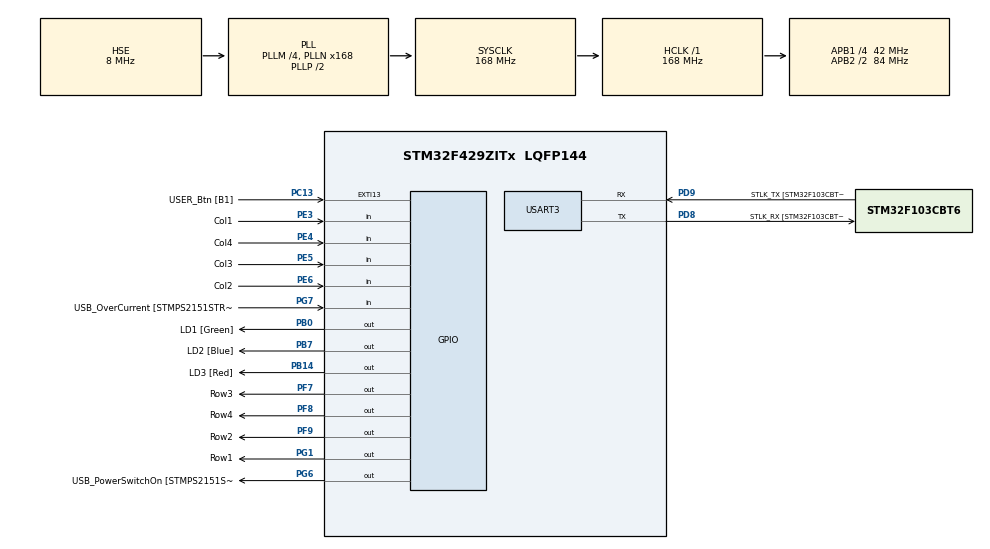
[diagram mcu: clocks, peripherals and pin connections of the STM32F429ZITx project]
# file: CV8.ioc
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Mcu.Family=STM32F4
Mcu.Name=STM32F429ZITx
Mcu.Package=LQFP144
NVIC.PriorityGroup=NVIC_PRIORITYGROUP_4
NVIC.TIM2_IRQn=true\:0\:0\:false\:false\:true\:true\:true
PA1.GPIO_Label=RMII_REF_CLK [LAN8742A-CZ-TR_REFCLK0]
PA1.Signal=ETH_REF_CLK
PA10.GPIO_Label=USB_ID
PA10.Signal=USB_OTG_FS_ID
PA11.GPIO_Label=USB_DM
PA11.Signal=USB_OTG_FS_DM
PA12.GPIO_Label=USB_DP
PA12.Signal=USB_OTG_FS_DP
PA13.GPIO_Label=TMS
PA13.Mode=Serial_Wire
PA13.Signal=SYS_JTMS-SWDIO
PA14.GPIO_Label=TCK
PA14.Mode=Serial_Wire
PA14.Signal=SYS_JTCK-SWCLK
PA2.GPIO_Label=RMII_MDIO [LAN8742A-CZ-TR_MDIO]
PA2.Signal=ETH_MDIO
PA7.GPIO_Label=RMII_CRS_DV [LAN8742A-CZ-TR_CRS_DV]
PA7.Signal=ETH_CRS_DV
PA8.GPIO_Label=USB_SOF [TP1]
PA8.Signal=USB_OTG_FS_SOF
PA9.GPIO_Label=USB_VBUS
PA9.Signal=USB_OTG_FS_VBUS
PB0.GPIO_Label=LD1 [Green]
PB0.Signal=GPIO_Output
PB13.GPIO_Label=RMII_TXD1 [LAN8742A-CZ-TR_TXD1]
PB13.Signal=ETH_TXD1
PB14.GPIO_Label=LD3 [Red]
PB14.Signal=GPIO_Output
PB7.GPIO_Label=LD2 [Blue]
PB7.Signal=GPIO_Output
PC1.GPIO_Label=RMII_MDC [LAN8742A-CZ-TR_MDC]
PC1.Signal=ETH_MDC
PC13.GPIO_Label=USER_Btn [B1]
PC13.Signal=GPXTI13
PC14/OSC32_IN.Mode=LSE-External-Oscillator
PC14/OSC32_IN.Signal=RCC_OSC32_IN
PC15/OSC32_OUT.Mode=LSE-External-Oscillator
PC15/OSC32_OUT.Signal=RCC_OSC32_OUT
PC4.GPIO_Label=RMII_RXD0 [LAN8742A-CZ-TR_RXD0]
PC4.Signal=ETH_RXD0
PC5.GPIO_Label=RMII_RXD1 [LAN8742A-CZ-TR_RXD1]
PC5.Signal=ETH_RXD1
PD8.GPIO_Label=STLK_RX [STM32F103CBT6_PA3]
PD8.Mode=Asynchronous
PD8.Signal=USART3_TX
PD9.GPIO_Label=STLK_TX [STM32F103CBT6_PA2]
PD9.Mode=Asynchronous
PD9.Signal=USART3_RX
PE3.GPIO_Label=Col1
PE3.GPIO_PuPd=GPIO_PULLUP
PE3.Signal=GPIO_Input
PE4.GPIO_Label=Col4
PE4.GPIO_PuPd=GPIO_PULLUP
PE4.Signal=GPIO_Input
PE5.GPIO_Label=Col3
PE5.GPIO_PuPd=GPIO_PULLUP
PE5.Signal=GPIO_Input
PE6.GPIO_Label=Col2
PE6.GPIO_PuPd=GPIO_PULLUP
PE6.Signal=GPIO_Input
PF7.GPIO_Label=Row3
PF7.GPIO_ModeDefaultOutputPP=GPIO_MODE_OUTPUT_OD
PF7.Signal=GPIO_Output
PF8.GPIO_Label=Row4
PF8.GPIO_ModeDefaultOutputPP=GPIO_MODE_OUTPUT_OD
PF8.Signal=GPIO_Output
PF9.GPIO_Label=Row2
PF9.GPIO_ModeDefaultOutputPP=GPIO_MODE_OUTPUT_OD
PF9.Signal=GPIO_Output
PG1.GPIO_Label=Row1
PG1.GPIO_ModeDefaultOutputPP=GPIO_MODE_OUTPUT_OD
PG1.Signal=GPIO_Output
PG11.GPIO_Label=RMII_TX_EN [LAN8742A-CZ-TR_TXEN]
PG11.Signal=ETH_TX_EN
PG13.GPIO_Label=RMII_TXD0 [LAN8742A-CZ-TR_TXD0]
PG13.Signal=ETH_TXD0
PG6.GPIO_Label=USB_PowerSwitchOn [STMPS2151STR_EN]
PG6.Signal=GPIO_Output
PG7.GPIO_Label=USB_OverCurrent [STMPS2151STR_FAULT]
PG7.Signal=GPIO_Input
PH0/OSC_IN.GPIO_Label=MCO [STM32F103CBT6_PA8]
PH0/OSC_IN.Mode=HSE-External-Clock-Source
PH0/OSC_IN.Signal=RCC_OSC_IN
PH1/OSC_OUT.Mode=HSE-External-Clock-Source
PH1/OSC_OUT.Signal=RCC_OSC_OUT
ProjectManager.HeapSize=0x200
ProjectManager.StackSize=0x400
ProjectManager.TargetToolchain=STM32CubeIDE
RCC.48MHZClocksFreq_Value=48000000
RCC.AHBFreq_Value=168000000
RCC.APB1CLKDivider=RCC_HCLK_DIV4
RCC.APB1Freq_Value=42000000
RCC.APB1TimFreq_Value=84000000
RCC.APB2CLKDivider=RCC_HCLK_DIV2
RCC.APB2Freq_Value=84000000
RCC.APB2TimCLKDivider=2
RCC.APB2TimFreq_Value=168000000
RCC.CortexFreq_Value=168000000
RCC.HCLKFreq_Value=168000000
RCC.HSE_VALUE=8000000
RCC.HSI_VALUE=16000000
RCC.PLLM=4
RCC.PLLMUL=RCC_PLL_MUL9
RCC.PLLN=168
RCC.PLLQ=7
RCC.PLLSourceVirtual=RCC_PLLSOURCE_HSE
RCC.PRESCALERUSB=RCC_USBCLKSOURCE_PLL_DIV1_5
RCC.SYSCLKFreq_VALUE=168000000
RCC.SYSCLKSource=RCC_SYSCLKSOURCE_PLLCLK
RCC.SYSCLKSourceVirtual=RCC_SYSCLKSOURCE_PLLCLK
RCC.USBFreq_Value=48000000
RCC.VCOOutputFreq_Value=336000000
TIM2.AutoReloadPreload=TIM_AUTORELOAD_PRELOAD_ENABLE
TIM2.Period=99
TIM2.Prescaler=8399
USART3.VirtualMode=VM_ASYNC
VP_TIM2_VS_ClockSourceINT.Mode=Internal
board=NUCLEO-F429ZI

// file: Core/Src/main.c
/* USER CODE BEGIN Header */
/**
 ******************************************************************************
 * @file           : main.c
 * @brief          : Main program body
 ******************************************************************************
 * @attention
 *
 * <h2><center>&copy; Copyright (c) 2020 STMicroelectronics.
 * All rights reserved.</center></h2>
 *
 * This software component is licensed by ST under BSD 3-Clause license,
 * the "License"; You may not use this file except in compliance with the
 * License. You may obtain a copy of the License at:
 *                        opensource.org/licenses/BSD-3-Clause
 *
 ******************************************************************************
 */
/* USER CODE END Header */

#include "main.h"

/* USER CODE BEGIN Includes */
#include <stdio.h>
/* USER CODE END Includes */

/* USER CODE BEGIN PD */
#define PAUSE 3000
/* USER CODE END PD */

TIM_HandleTypeDef htim2;

UART_HandleTypeDef huart3;

/* USER CODE BEGIN PV */
static volatile int8_t key;
static const uint8_t pass[]={7,9,3,2,12};
/* USER CODE END PV */

void SystemClock_Config(void);
static void MX_GPIO_Init(void);
static void MX_USART3_UART_Init(void);
static void MX_TIM2_Init(void);
/* USER CODE BEGIN PFP */
void HAL_TIM_PeriodElapsedCallback(TIM_HandleTypeDef *htim);
/* USER CODE END PFP */

/* USER CODE BEGIN 0 */
int __io_putchar(int ch)
{
	ITM_SendChar(ch);
	return 0;
}

/* USER CODE END 0 */

int main(void)
{

	/* MCU Configuration--------------------------------------------------------*/

	/* Reset of all peripherals, Initializes the Flash interface and the Systick. */
	HAL_Init();

	/* Configure the system clock */
	SystemClock_Config();

	/* Initialize all configured peripherals */
	MX_GPIO_Init();
	MX_USART3_UART_Init();
	MX_TIM2_Init();
	/* USER CODE BEGIN 2 */
	HAL_TIM_Base_Start_IT(&htim2);

	/* USER CODE END 2 */

	/* Infinite loop */
	while (1)
	{

		/* USER CODE BEGIN 3 */
		static enum { LED_ON, LED_OFF} state = LED_OFF;
		static uint32_t tick;
		if (key!= -1) // obsluha klavesy
		{
			static uint8_t i=0;
			printf("Klavesa: %i \n", key);
			if (key==pass[i]) i++;
			else i=0;
			if (i==5)
			{
				state=LED_ON;
				tick=HAL_GetTick();
				i=0;
			}
		}
		key=-1;

		if (state==LED_ON)
		{
			HAL_GPIO_WritePin(LD1_GPIO_Port, LD1_Pin, GPIO_PIN_SET);
			if (HAL_GetTick()>tick+PAUSE) state=LED_OFF;
		}
		else if (state==LED_OFF)
		{
			HAL_GPIO_WritePin(LD1_GPIO_Port, LD1_Pin, GPIO_PIN_RESET);

		}

		// BOD 1
		/*  HAL_GPIO_TogglePin(LD1_GPIO_Port, LD1_Pin);
	  HAL_Delay(250);*/

	}
	/* USER CODE END 3 */
}

void SystemClock_Config(void)
{
	RCC_OscInitTypeDef RCC_OscInitStruct = {0};
	RCC_ClkInitTypeDef RCC_ClkInitStruct = {0};

	/** Configure the main internal regulator output voltage
	 */
	__HAL_RCC_PWR_CLK_ENABLE();
	__HAL_PWR_VOLTAGESCALING_CONFIG(PWR_REGULATOR_VOLTAGE_SCALE1);
	/** Initializes the CPU, AHB and APB busses clocks
	 */
	RCC_OscInitStruct.OscillatorType = RCC_OSCILLATORTYPE_HSE;
	RCC_OscInitStruct.HSEState = RCC_HSE_BYPASS;
	RCC_OscInitStruct.PLL.PLLState = RCC_PLL_ON;
	RCC_OscInitStruct.PLL.PLLSource = RCC_PLLSOURCE_HSE;
	RCC_OscInitStruct.PLL.PLLM = 4;
	RCC_OscInitStruct.PLL.PLLN = 168;
	RCC_OscInitStruct.PLL.PLLP = RCC_PLLP_DIV2;
	RCC_OscInitStruct.PLL.PLLQ = 7;
	if (HAL_RCC_OscConfig(&RCC_OscInitStruct) != HAL_OK)
	{
		Error_Handler();
	}
	/** Initializes the CPU, AHB and APB busses clocks
	 */
	RCC_ClkInitStruct.ClockType = RCC_CLOCKTYPE_HCLK|RCC_CLOCKTYPE_SYSCLK
			|RCC_CLOCKTYPE_PCLK1|RCC_CLOCKTYPE_PCLK2;
	RCC_ClkInitStruct.SYSCLKSource = RCC_SYSCLKSOURCE_PLLCLK;
	RCC_ClkInitStruct.AHBCLKDivider = RCC_SYSCLK_DIV1;
	RCC_ClkInitStruct.APB1CLKDivider = RCC_HCLK_DIV4;
	RCC_ClkInitStruct.APB2CLKDivider = RCC_HCLK_DIV2;

	if (HAL_RCC_ClockConfig(&RCC_ClkInitStruct, FLASH_LATENCY_5) != HAL_OK)
	{
		Error_Handler();
	}
}

static void MX_TIM2_Init(void)
{

	TIM_ClockConfigTypeDef sClockSourceConfig = {0};
	TIM_MasterConfigTypeDef sMasterConfig = {0};

	htim2.Instance = TIM2;
	htim2.Init.Prescaler = 8399;
	htim2.Init.CounterMode = TIM_COUNTERMODE_UP;
	htim2.Init.Period = 99;
	htim2.Init.ClockDivision = TIM_CLOCKDIVISION_DIV1;
	htim2.Init.AutoReloadPreload = TIM_AUTORELOAD_PRELOAD_ENABLE;
	if (HAL_TIM_Base_Init(&htim2) != HAL_OK)
	{
		Error_Handler();
	}
	sClockSourceConfig.ClockSource = TIM_CLOCKSOURCE_INTERNAL;
	if (HAL_TIM_ConfigClockSource(&htim2, &sClockSourceConfig) != HAL_OK)
	{
		Error_Handler();
	}
	sMasterConfig.MasterOutputTrigger = TIM_TRGO_RESET;
	sMasterConfig.MasterSlaveMode = TIM_MASTERSLAVEMODE_DISABLE;
	if (HAL_TIMEx_MasterConfigSynchronization(&htim2, &sMasterConfig) != HAL_OK)
	{
		Error_Handler();
	}

}

static void MX_USART3_UART_Init(void)
{

	huart3.Instance = USART3;
	huart3.Init.BaudRate = 115200;
	huart3.Init.WordLength = UART_WORDLENGTH_8B;
	huart3.Init.StopBits = UART_STOPBITS_1;
	huart3.Init.Parity = UART_PARITY_NONE;
	huart3.Init.Mode = UART_MODE_TX_RX;
	huart3.Init.HwFlowCtl = UART_HWCONTROL_NONE;
	huart3.Init.OverSampling = UART_OVERSAMPLING_16;
	if (HAL_UART_Init(&huart3) != HAL_OK)
	{
		Error_Handler();
	}

}

static void MX_GPIO_Init(void)
{
	GPIO_InitTypeDef GPIO_InitStruct = {0};

	/* GPIO Ports Clock Enable */
	__HAL_RCC_GPIOE_CLK_ENABLE();
	__HAL_RCC_GPIOC_CLK_ENABLE();
	__HAL_RCC_GPIOF_CLK_ENABLE();
	__HAL_RCC_GPIOH_CLK_ENABLE();
	__HAL_RCC_GPIOA_CLK_ENABLE();
	__HAL_RCC_GPIOB_CLK_ENABLE();
	__HAL_RCC_GPIOG_CLK_ENABLE();
	__HAL_RCC_GPIOD_CLK_ENABLE();

	/*Configure GPIO pin Output Level */
	HAL_GPIO_WritePin(GPIOF, Row3_Pin|Row4_Pin|Row2_Pin, GPIO_PIN_RESET);

	/*Configure GPIO pin Output Level */
	HAL_GPIO_WritePin(GPIOB, LD1_Pin|LD3_Pin|LD2_Pin, GPIO_PIN_RESET);

	/*Configure GPIO pin Output Level */
	HAL_GPIO_WritePin(GPIOG, Row1_Pin|USB_PowerSwitchOn_Pin, GPIO_PIN_RESET);

	/*Configure GPIO pins : Col1_Pin Col4_Pin Col3_Pin Col2_Pin */
	GPIO_InitStruct.Pin = Col1_Pin|Col4_Pin|Col3_Pin|Col2_Pin;
	GPIO_InitStruct.Mode = GPIO_MODE_INPUT;
	GPIO_InitStruct.Pull = GPIO_PULLUP;
	HAL_GPIO_Init(GPIOE, &GPIO_InitStruct);

	/*Configure GPIO pin : USER_Btn_Pin */
	GPIO_InitStruct.Pin = USER_Btn_Pin;
	GPIO_InitStruct.Mode = GPIO_MODE_IT_RISING;
	GPIO_InitStruct.Pull = GPIO_NOPULL;
	HAL_GPIO_Init(USER_Btn_GPIO_Port, &GPIO_InitStruct);

	/*Configure GPIO pins : Row3_Pin Row4_Pin Row2_Pin */
	GPIO_InitStruct.Pin = Row3_Pin|Row4_Pin|Row2_Pin;
	GPIO_InitStruct.Mode = GPIO_MODE_OUTPUT_OD;
	GPIO_InitStruct.Pull = GPIO_NOPULL;
	GPIO_InitStruct.Speed = GPIO_SPEED_FREQ_LOW;
	HAL_GPIO_Init(GPIOF, &GPIO_InitStruct);

	/*Configure GPIO pins : RMII_MDC_Pin RMII_RXD0_Pin RMII_RXD1_Pin */
	GPIO_InitStruct.Pin = RMII_MDC_Pin|RMII_RXD0_Pin|RMII_RXD1_Pin;
	GPIO_InitStruct.Mode = GPIO_MODE_AF_PP;
	GPIO_InitStruct.Pull = GPIO_NOPULL;
	GPIO_InitStruct.Speed = GPIO_SPEED_FREQ_VERY_HIGH;
	GPIO_InitStruct.Alternate = GPIO_AF11_ETH;
	HAL_GPIO_Init(GPIOC, &GPIO_InitStruct);

	/*Configure GPIO pins : RMII_REF_CLK_Pin RMII_MDIO_Pin RMII_CRS_DV_Pin */
	GPIO_InitStruct.Pin = RMII_REF_CLK_Pin|RMII_MDIO_Pin|RMII_CRS_DV_Pin;
	GPIO_InitStruct.Mode = GPIO_MODE_AF_PP;
	GPIO_InitStruct.Pull = GPIO_NOPULL;
	GPIO_InitStruct.Speed = GPIO_SPEED_FREQ_VERY_HIGH;
	GPIO_InitStruct.Alternate = GPIO_AF11_ETH;
	HAL_GPIO_Init(GPIOA, &GPIO_InitStruct);

	/*Configure GPIO pins : LD1_Pin LD3_Pin LD2_Pin */
	GPIO_InitStruct.Pin = LD1_Pin|LD3_Pin|LD2_Pin;
	GPIO_InitStruct.Mode = GPIO_MODE_OUTPUT_PP;
	GPIO_InitStruct.Pull = GPIO_NOPULL;
	GPIO_InitStruct.Speed = GPIO_SPEED_FREQ_LOW;
	HAL_GPIO_Init(GPIOB, &GPIO_InitStruct);

	/*Configure GPIO pin : Row1_Pin */
	GPIO_InitStruct.Pin = Row1_Pin;
	GPIO_InitStruct.Mode = GPIO_MODE_OUTPUT_OD;
	GPIO_InitStruct.Pull = GPIO_NOPULL;
	GPIO_InitStruct.Speed = GPIO_SPEED_FREQ_LOW;
	HAL_GPIO_Init(Row1_GPIO_Port, &GPIO_InitStruct);

	/*Configure GPIO pin : RMII_TXD1_Pin */
	GPIO_InitStruct.Pin = RMII_TXD1_Pin;
	GPIO_InitStruct.Mode = GPIO_MODE_AF_PP;
	GPIO_InitStruct.Pull = GPIO_NOPULL;
	GPIO_InitStruct.Speed = GPIO_SPEED_FREQ_VERY_HIGH;
	GPIO_InitStruct.Alternate = GPIO_AF11_ETH;
	HAL_GPIO_Init(RMII_TXD1_GPIO_Port, &GPIO_InitStruct);

	/*Configure GPIO pin : USB_PowerSwitchOn_Pin */
	GPIO_InitStruct.Pin = USB_PowerSwitchOn_Pin;
	GPIO_InitStruct.Mode = GPIO_MODE_OUTPUT_PP;
	GPIO_InitStruct.Pull = GPIO_NOPULL;
	GPIO_InitStruct.Speed = GPIO_SPEED_FREQ_LOW;
	HAL_GPIO_Init(USB_PowerSwitchOn_GPIO_Port, &GPIO_InitStruct);

	/*Configure GPIO pin : USB_OverCurrent_Pin */
	GPIO_InitStruct.Pin = USB_OverCurrent_Pin;
	GPIO_InitStruct.Mode = GPIO_MODE_INPUT;
	GPIO_InitStruct.Pull = GPIO_NOPULL;
	HAL_GPIO_Init(USB_OverCurrent_GPIO_Port, &GPIO_InitStruct);

	/*Configure GPIO pins : USB_SOF_Pin USB_ID_Pin USB_DM_Pin USB_DP_Pin */
	GPIO_InitStruct.Pin = USB_SOF_Pin|USB_ID_Pin|USB_DM_Pin|USB_DP_Pin;
	GPIO_InitStruct.Mode = GPIO_MODE_AF_PP;
	GPIO_InitStruct.Pull = GPIO_NOPULL;
	GPIO_InitStruct.Speed = GPIO_SPEED_FREQ_VERY_HIGH;
	GPIO_InitStruct.Alternate = GPIO_AF10_OTG_FS;
	HAL_GPIO_Init(GPIOA, &GPIO_InitStruct);

	/*Configure GPIO pin : USB_VBUS_Pin */
	GPIO_InitStruct.Pin = USB_VBUS_Pin;
	GPIO_InitStruct.Mode = GPIO_MODE_INPUT;
	GPIO_InitStruct.Pull = GPIO_NOPULL;
	HAL_GPIO_Init(USB_VBUS_GPIO_Port, &GPIO_InitStruct);

	/*Configure GPIO pins : RMII_TX_EN_Pin RMII_TXD0_Pin */
	GPIO_InitStruct.Pin = RMII_TX_EN_Pin|RMII_TXD0_Pin;
	GPIO_InitStruct.Mode = GPIO_MODE_AF_PP;
	GPIO_InitStruct.Pull = GPIO_NOPULL;
	GPIO_InitStruct.Speed = GPIO_SPEED_FREQ_VERY_HIGH;
	GPIO_InitStruct.Alternate = GPIO_AF11_ETH;
	HAL_GPIO_Init(GPIOG, &GPIO_InitStruct);

}

/* USER CODE BEGIN 4 */

void HAL_TIM_PeriodElapsedCallback(TIM_HandleTypeDef *htim)
{
	static int row = 0;
	static const int keyboard[4][4] = {
			{ 1, 2, 3, 21 },
			{ 4, 5, 6, 22 },
			{ 7, 8, 9, 23 },
			{ 11, 0, 12, 24 },
	};
	if (key == -1)
	{ // obsluha sloupců
		if (HAL_GPIO_ReadPin(Col1_GPIO_Port, Col1_Pin) == GPIO_PIN_RESET) key = keyboard[row][0];
		if (HAL_GPIO_ReadPin(Col2_GPIO_Port, Col2_Pin) == GPIO_PIN_RESET) key = keyboard[row][1];
		if (HAL_GPIO_ReadPin(Col3_GPIO_Port, Col3_Pin) == GPIO_PIN_RESET) key = keyboard[row][2];
		if (HAL_GPIO_ReadPin(Col4_GPIO_Port, Col4_Pin) == GPIO_PIN_RESET) key = keyboard[row][3];
	}

	HAL_GPIO_WritePin(Row1_GPIO_Port, Row1_Pin, GPIO_PIN_SET);
	HAL_GPIO_WritePin(Row2_GPIO_Port, Row2_Pin, GPIO_PIN_SET);
	HAL_GPIO_WritePin(Row3_GPIO_Port, Row3_Pin, GPIO_PIN_SET);
	HAL_GPIO_WritePin(Row4_GPIO_Port, Row4_Pin, GPIO_PIN_SET);
	switch (row) // uzemnění řádků
	{
	case 0: row = 1; // posun na další řádek
	HAL_GPIO_WritePin(Row1_GPIO_Port, Row1_Pin, GPIO_PIN_RESET);// uzemnění
	break;
	case 1: row = 2; HAL_GPIO_WritePin(Row2_GPIO_Port, Row2_Pin, GPIO_PIN_RESET); break;
	case 2: row = 3; HAL_GPIO_WritePin(Row3_GPIO_Port, Row3_Pin, GPIO_PIN_RESET); break;
	case 3: row = 0; HAL_GPIO_WritePin(Row4_GPIO_Port, Row4_Pin, GPIO_PIN_RESET); break;
	}
}
/* USER CODE END 4 */

void Error_Handler(void)
{
}

/************************ (C) COPYRIGHT STMicroelectronics *****END OF FILE****/
